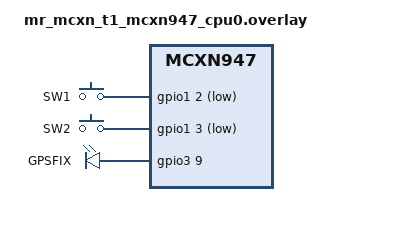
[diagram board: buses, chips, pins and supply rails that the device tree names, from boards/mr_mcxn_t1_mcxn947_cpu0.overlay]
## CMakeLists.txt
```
# Copyright 2026 NXP
#
# SPDX-License-Identifier: Apache-2.0

cmake_minimum_required(VERSION 3.13.1)

# Pull the MR-MCXN-T1 daughter-board nodes from the upstream shield.
set(SHIELD mr_mcxn_t1_f9p)

find_package(Zephyr REQUIRED HINTS $ENV{ZEPHYR_BASE})

project(gnss LANGUAGES C)

set(flags
  -std=c11
  -Wall
  -Wextra
  -Werror
  -Wstrict-prototypes
  -Waggregate-return
  -Wbad-function-cast
  -Wcast-align
  -Wcast-qual
  -Wfloat-equal
  -Wformat-security
  -Wlogical-op
  -Wmissing-declarations
  -Wmissing-include-dirs
  -Wmissing-prototypes
  -Wnested-externs
  -Wpointer-arith
  -Wredundant-decls
  -Wsequence-point
  -Wshadow
  -Wstrict-prototypes
  -Wswitch
  -Wundef
  -Wunreachable-code
  -Wunused-but-set-parameter
  -Wwrite-strings
  )
string(JOIN " " flags ${flags})

set(SOURCE_FILES
  src/boot_banner.c
  )

set_source_files_properties(
  ${SOURCE_FILES}
  PROPERTIES COMPILE_FLAGS
  "${flags}"
  )

target_sources(app PRIVATE ${SOURCE_FILES})

target_include_directories(app SYSTEM BEFORE PRIVATE ${ZEPHYR_BASE}/include ${CMAKE_BINARY_DIR})

# vi: ts=2 sw=2 et
```

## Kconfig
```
# Copyright 2026 NXP
#
# SPDX-License-Identifier: Apache-2.0

mainmenu "MCXN-T1-GNSS"
menu "Zephyr"
source "Kconfig.zephyr"
endmenu

menu "GNSS"

module = MCXN_T1_ROS2_GNSS
module-str = mcxn_t1_ros2_gnss
source "subsys/logging/Kconfig.template.log_config"
endmenu
```

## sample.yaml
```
# Copyright 2026 NXP
#
# SPDX-License-Identifier: Apache-2.0

sample:
  description: gnss
  name: gnss
common:
  build_only: true
tests:
  gnss.mr_mcxn_t1/mcxn947/cpu0:
    tags:
      - gnss
    integration_platforms:
      - mr_mcxn_t1/mcxn947/cpu0
```

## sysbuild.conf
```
# Copyright 2026 NXP
#
# SPDX-License-Identifier: Apache-2.0

SB_CONFIG_BOOTLOADER_MCUBOOT=y
```

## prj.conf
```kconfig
# Copyright 2026 NXP
#
# SPDX-License-Identifier: Apache-2.0

CONFIG_SPINALI=y
CONFIG_SPINALI_APP_NAME="MCXN-T1-GNSS"

CONFIG_ZCBOR=y
CONFIG_MCUMGR=y
CONFIG_MCUMGR_TRANSPORT_UDP=y
CONFIG_MCUMGR_TRANSPORT_UDP_IPV4=y
CONFIG_MCUMGR_GRP_OS=y
CONFIG_MCUMGR_GRP_OS_INFO=y
CONFIG_MCUMGR_GRP_OS_INFO_BUILD_DATE_TIME=y
CONFIG_MCUMGR_GRP_OS_INFO_CUSTOM_HOOKS=y
CONFIG_MCUMGR_MGMT_NOTIFICATION_HOOKS=y
CONFIG_HWINFO=y
CONFIG_MCUMGR_GRP_OS_BOOTLOADER_INFO=y
CONFIG_MCUMGR_GRP_OS_MCUMGR_PARAMS=y
CONFIG_THREAD_MONITOR=y
CONFIG_THREAD_NAME=y
CONFIG_MCUMGR_GRP_OS_TASKSTAT=y
CONFIG_MCUMGR_GRP_OS_TASKSTAT_USE_THREAD_NAME_FOR_NAME=y
CONFIG_THREAD_STACK_INFO=y
CONFIG_FLASH=y
CONFIG_FLASH_MAP=y
CONFIG_IMG_MANAGER=y
CONFIG_STREAM_FLASH=y
CONFIG_MCUMGR_GRP_IMG=y
CONFIG_MCUMGR_GRP_IMG_SLOT_INFO=y
CONFIG_SHELL_BACKEND_DUMMY=y
CONFIG_BASE64=y
CONFIG_MCUMGR_GRP_SHELL=y
CONFIG_STATS=y
CONFIG_STATS_NAMES=y
CONFIG_MCUMGR_GRP_STAT=y
CONFIG_SYS_CLOCK_TICKS_PER_SEC=10000
CONFIG_TICKLESS_KERNEL=n
CONFIG_I3C=n
CONFIG_TEST_RANDOM_GENERATOR=y
CONFIG_FPU=y

CONFIG_NET_PKT_TX_COUNT=24
CONFIG_NET_BUF_TX_COUNT=24
CONFIG_NET_BUF_RX_COUNT=24
CONFIG_NET_PKT_RX_COUNT=24


CONFIG_ZROS_SENSE_STREAM=y
CONFIG_ZROS_SENSE_STREAM_IMU=y
CONFIG_ZROS_SENSE_STREAM_MAG=n
CONFIG_ZROS_SENSE_GNSS=y

CONFIG_GNSS=y
CONFIG_GNSS_SATELLITES=y
CONFIG_GNSS_LOG_LEVEL_DBG=y

CONFIG_RM3100_STREAM=n

CONFIG_SHELL=y
CONFIG_SENSOR=y
CONFIG_SENSOR_SHELL=y
CONFIG_SENSOR_INFO=y


CONFIG_SYNAPSE_PB=y
CONFIG_NANOPB=y

CONFIG_SPINALI_SYNAPSE_TOPIC=y
CONFIG_SPINALI_CORE_COMMON=y
CONFIG_SPINALI_CORE_COMMON_BOOT_BANNER=y
CONFIG_ZROS=y
CONFIG_SHELL_STACK_SIZE=8192
CONFIG_INIT_STACKS=y

CONFIG_LOG=y
CONFIG_LOG_CMDS=y
CONFIG_LOG_MODE_DEFERRED=y

CONFIG_MCXN_T1_ROS2_GNSS_LOG_LEVEL_DBG=y

CONFIG_SENSOR_SHELL_STREAM=y
CONFIG_SENSOR_SHELL_THREAD_STACK_SIZE=8192
CONFIG_SENSOR_LOG_LEVEL_DBG=n

# modules

CONFIG_MAIN_THREAD_PRIORITY=5
CONFIG_SYSTEM_WORKQUEUE_PRIORITY=-2

CONFIG_NET_SHELL=y
CONFIG_NETWORKING=y
CONFIG_NET_IPV4=y
CONFIG_NET_IPV6=n
CONFIG_NET_UDP=y
CONFIG_NET_TCP=y
CONFIG_NET_SOCKETS=y
CONFIG_ZVFS_OPEN_MAX=16
CONFIG_HEAP_MEM_POOL_SIZE=49152

# Network address config
CONFIG_NET_HOSTNAME="gnss"
CONFIG_NET_CONFIG_SETTINGS=y
CONFIG_NET_STATISTICS=y
CONFIG_NET_MGMT_EVENT_INFO=y
CONFIG_NET_MGMT_EVENT_MONITOR=y
CONFIG_NET_BUF_POOL_USAGE=y
CONFIG_NET_DEBUG_NET_PKT_ALLOC=y
CONFIG_NET_CONFIG_NEED_IPV4=y
CONFIG_NET_CONFIG_MY_IPV4_ADDR="10.58.0.13"
CONFIG_NET_CONFIG_MY_IPV4_NETMASK="255.255.0.0"

# STATS
CONFIG_THREAD_RUNTIME_STATS=y
CONFIG_SCHED_THREAD_USAGE=y
CONFIG_SCHED_THREAD_USAGE_ANALYSIS=y
CONFIG_SCHED_THREAD_USAGE_ALL=y
CONFIG_SCHED_THREAD_USAGE_AUTO_ENABLE=y

CONFIG_SPEED_OPTIMIZATIONS=y

CONFIG_PX4_MSGS=y
CONFIG_SYNAPSE_ZENOH_PX4=y
CONFIG_SYNAPSE_ZENOH_PX4_LOG_LEVEL_DBG=y
CONFIG_SYNAPSE_ZENOH_PX4_RIHS_HASH=y
CONFIG_SYNAPSE_ZENOH_PX4_RUNTIME_CONFIG=y
CONFIG_SYNAPSE_ZENOH_PX4_PERSIST=y
CONFIG_SYNAPSE_ZENOH_PX4_RMW_COMPAT=y
CONFIG_SYNAPSE_ZENOH_PX4_MODE_CLIENT=y
CONFIG_SYNAPSE_ZENOH_PX4_LOCATOR="tcp/10.58.0.1:7447"
CONFIG_SYNAPSE_ZENOH_PX4_OPTICAL_FLOW_RATE_HZ=0
CONFIG_SYNAPSE_ZENOH_PX4_DISTANCE_SENSOR_RATE_HZ=0
CONFIG_SYNAPSE_ZENOH_PX4_GNSS_RATE_HZ=10
CONFIG_SYNAPSE_ZENOH_PX4_MAG_RATE_HZ=0
CONFIG_ZENOH_PICO=y
CONFIG_ZENOH_PICO_MULTI_THREAD=y
CONFIG_ZENOH_PICO_LINK_TCP=y
CONFIG_ZENOH_PICO_LINK_UDP_UNICAST=y
CONFIG_ZENOH_PICO_ZEPHYR_TASK_STACK_SIZE=6144
```

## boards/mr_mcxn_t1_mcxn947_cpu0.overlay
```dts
/*
 * Copyright 2026 NXP
 *
 * SPDX-License-Identifier: Apache-2.0
 *
 * The F9P GNSS node, its FlexComm7/LPUART7 pinctrl and the `gnss` alias
 * are provided by the upstream `mr_mcxn_t1_f9p` shield (selected in
 * CMakeLists.txt). Only application-specific overrides remain here.
 */
#include <zephyr/dt-bindings/input/input-event-codes.h>
#include <zephyr/dt-bindings/sensor/icm45686.h>

/ {
	aliases {
		imu-stream-0 = &icm45686_0;
	};
};

/* USB shell IRQ priority lower than the sensor IRQs */
&zephyr_udc0 {
	interrupts = <0x43 0x6>;
};

&icm45686_0 {
	accel-odr = <ICM45686_DT_ACCEL_ODR_3200>;
	gyro-odr = <ICM45686_DT_GYRO_ODR_3200>;
	fifo-watermark = <4>;
	fifo-watermark-equals;
};

/* Application wants a 100 ms fix rate (shield default is 1000). */
&gnss1 {
	fix-rate = <100>;
};

/ {
	gpio_keys {
		compatible = "gpio-keys";
		button_sw1: button_sw1 {
			gpios = <&gpio1 2 GPIO_ACTIVE_LOW>;
			label = "SW1";
			zephyr,code = <INPUT_KEY_0>;
		};
		button_sw2: button_sw2 {
			gpios = <&gpio1 3 GPIO_ACTIVE_LOW>;
			label = "SW2";
			zephyr,code = <INPUT_KEY_1>;
		};
	};

	gnss_leds {
		compatible = "gpio-leds";
		led_gpsfix: led_gpsfix {
			gpios = <&gpio3 9 GPIO_ACTIVE_HIGH>;
			label = "GPSFIX";
		};
	};
};
```

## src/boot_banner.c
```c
/*
 * Copyright 2026 NXP
 *
 * SPDX-License-Identifier: Apache-2.0
 */

#include <zephyr/kernel.h>
#include <zephyr/logging/log.h>

#if defined(CONFIG_SPINALI_CORE_COMMON_BOOT_BANNER)
#include <stdio.h>
#endif

#include <spinali/core/common.h>

LOG_MODULE_REGISTER(gnss_boot_banner, CONFIG_MCXN_T1_ROS2_GNSS_LOG_LEVEL);

static int gnss_boot_banner_sys_init(void)
{
	LOG_INF("MCXN-T1 ROS2 GNSS %d.%d.%d", CONFIG_SPINALI_VERSION_MAJOR,
		CONFIG_SPINALI_VERSION_MINOR, CONFIG_SPINALI_VERSION_PATCH);
#if defined(CONFIG_SPINALI_CORE_COMMON_BOOT_BANNER)
	printf("%s", banner_spinali);
#endif
	return 0;
};

SYS_INIT(gnss_boot_banner_sys_init, APPLICATION, 0);

// vi: ts=4 sw=4 et
```
